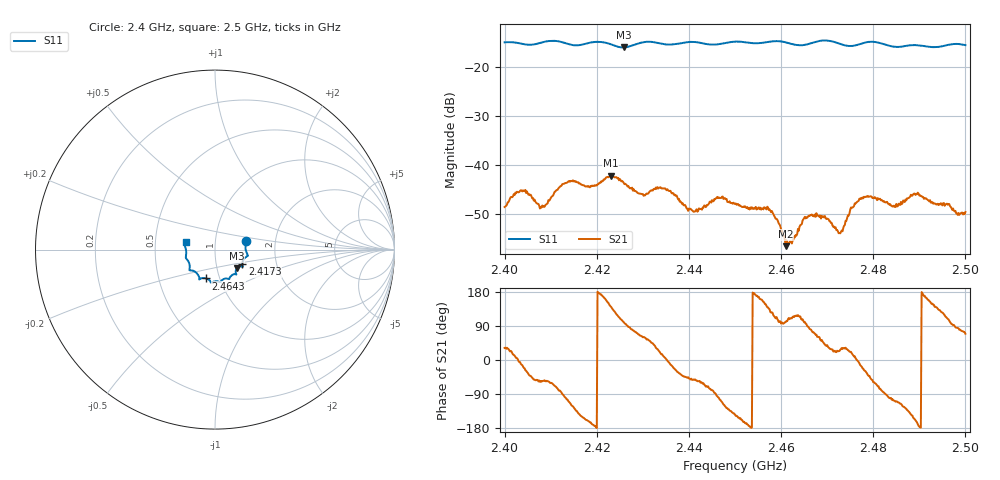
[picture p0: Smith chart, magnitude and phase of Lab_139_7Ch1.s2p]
# Hz S RI R 50
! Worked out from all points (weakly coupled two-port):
!   601 points, 2.4 GHz to 2.5 GHz, reference 50 ohm
!   highest |S21| = -42.14 dB at 2.423 GHz (marker M1); lowest = -56.5 dB at 2.461 GHz (marker M2)
!   lowest |S11| = -15.9 dB at 2.4258 GHz (marker M3), VSWR 1.38, Z = 62.3 - j13.2 ohm
!   |S11| at or under -10 dB: start of sweep to end of sweep
!   S12 and S22 are empty: the file has one direction only
!   S11 on the Smith chart (normalised r, x): 2.4 GHz: 1.41, +0.15; 2.4173 GHz: 1.34, -0.23; 2.4643 GHz: 0.86, -0.28; 2.5 GHz: 0.72, +0.06
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2.4e9  0.173 0.0498  0.00319 0.00197  0 0  0 0
2.404e9  0.1715 0.0253  0.00531 -0.00164  0 0  0 0
2.408167e9  0.179 -0.0222  0.00221 -0.0032  0 0  0 0
2.412667e9  0.1757 -0.0389  -0.000147 -0.00646  0 0  0 0
2.416667e9  0.1529 -0.0749  -0.0054 -0.00332  0 0  0 0
2.417333e9  0.1523 -0.0823  -0.00559 -0.00265  0 0  0 0
2.423e9  0.1451 -0.0932  -0.00613 0.00485  0 0  0 0
2.425833e9  0.1217 -0.1036  -0.00116 0.00654  0 0  0 0
2.43e9  0.118 -0.1364  0.00254 0.00441  0 0  0 0
2.433333e9  0.1125 -0.1367  0.0052 0.00258  0 0  0 0
2.441e9  0.0781 -0.1645  0.0021 -0.00262  0 0  0 0
2.446333e9  0.045 -0.1664  -0.000674 -0.00459  0 0  0 0
2.45e9  0.0296 -0.1809  -0.00326 -0.00235  0 0  0 0
2.4575e9  -0.0164 -0.182  -0.00246 0.00256  0 0  0 0
2.461e9  -0.0258 -0.1783  -0.00026 0.00147  0 0  0 0
2.464333e9  -0.0502 -0.1607  -0.000773 0.00236  0 0  0 0
2.466667e9  -0.0764 -0.1601  0.000714 0.00307  0 0  0 0
2.472833e9  -0.0904 -0.1483  0.0018 0.000914  0 0  0 0
2.4775e9  -0.1312 -0.1161  0.00434 -0.00138  0 0  0 0
2.483333e9  -0.1409 -0.0896  -0.000578 -0.00402  0 0  0 0
2.489333e9  -0.1626 -0.0444  -0.00487 -0.00157  0 0  0 0
2.5e9  -0.1634 0.0421  0.00119 0.00312  0 0  0 0
